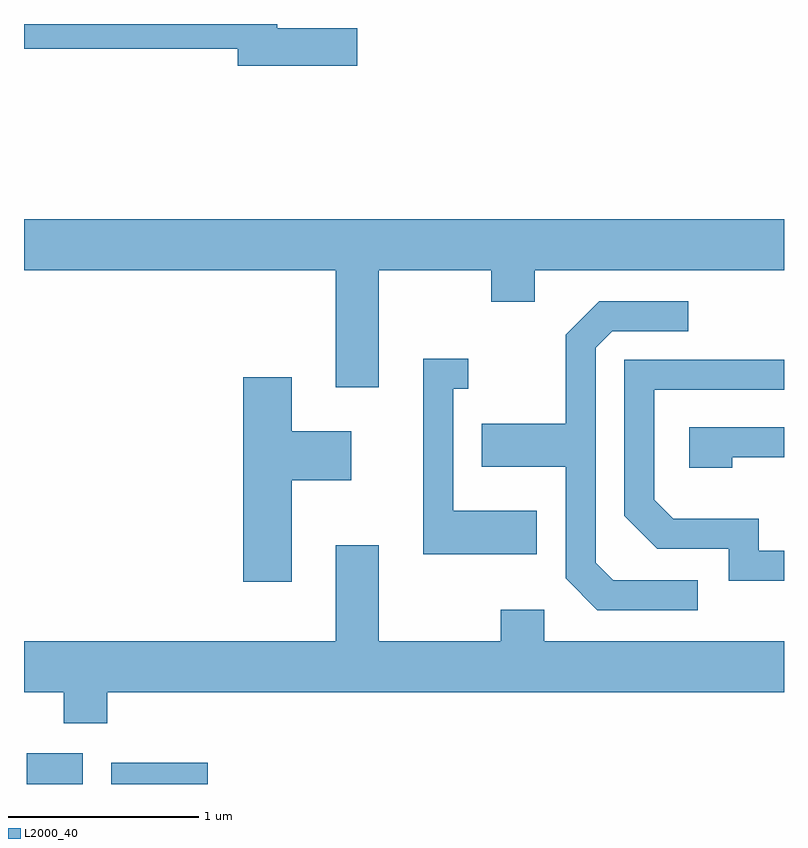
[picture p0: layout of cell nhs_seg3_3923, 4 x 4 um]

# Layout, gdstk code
import gdstk
lib = gdstk.Library(unit=1e-6, precision=1e-09)
def R(c, l, rs):  # rectangles x0, y0, x1, y1
    for r in rs: c.add(gdstk.rectangle(r[:2], r[2:], *l))
def P(c, l, *ps):  # polygons
    for p in ps: c.add(gdstk.Polygon(p, *l))
L2000_40 = (2000, 40)

nhs_seg3_3923 = lib.new_cell('nhs_seg3_3923')
R(nhs_seg3_3923, L2000_40, [(299.626,1209.892,299.919,1210.054), (300.071,1209.892,300.578,1210.004)])
P(nhs_seg3_3923, L2000_40, [(301.364,1213.869),(300.944,1213.869),(300.944,1213.892),(299.611,1213.892),(299.611,1213.761),(300.736,1213.761),(300.736,1213.671),(301.364,1213.671)],
  [(301.479,1212.596),(302.071,1212.596),(302.071,1212.431),(302.299,1212.431),(302.299,1212.596),(303.611,1212.596),(303.611,1212.864),(299.611,1212.864),(299.611,1212.596),(301.251,1212.596),(301.251,1211.981),(301.479,1211.981)],
  [(303.158,1210.964),(302.712,1210.964),(302.619,1211.057),(302.619,1212.189),(302.707,1212.276),(303.108,1212.276),(303.108,1212.434),(302.639,1212.434),(302.461,1212.257),(302.461,1211.789),(302.021,1211.789),(302.021,1211.561),(302.461,1211.561),(302.461,1210.974),(302.629,1210.806),(303.158,1210.806)],
  [(302.309,1211.329),(301.869,1211.329),(301.869,1211.971),(301.948,1211.971),(301.948,1212.129),(301.711,1212.129),(301.711,1211.101),(302.309,1211.101)],
  [(303.611,1211.119),(303.479,1211.119),(303.479,1211.289),(303.027,1211.289),(302.929,1211.387),(302.929,1211.966),(303.611,1211.966),(303.611,1212.124),(302.771,1212.124),(302.771,1211.304),(302.944,1211.131),(303.321,1211.131),(303.321,1210.961),(303.611,1210.961)],
  [(301.019,1211.491),(301.334,1211.491),(301.334,1211.749),(301.019,1211.749),(301.019,1212.034),(300.766,1212.034),(300.766,1210.956),(301.019,1210.956)],
  [(303.339,1211.611),(303.611,1211.611),(303.611,1211.769),(303.111,1211.769),(303.111,1211.556),(303.339,1211.556)],
  [(300.049,1210.376),(303.611,1210.376),(303.611,1210.644),(302.349,1210.644),(302.349,1210.809),(302.121,1210.809),(302.121,1210.644),(301.479,1210.644),(301.479,1211.149),(301.251,1211.149),(301.251,1210.644),(299.611,1210.644),(299.611,1210.376),(299.821,1210.376),(299.821,1210.211),(300.049,1210.211)])

lib.write_gds('nhs_seg3_3923.gds')
